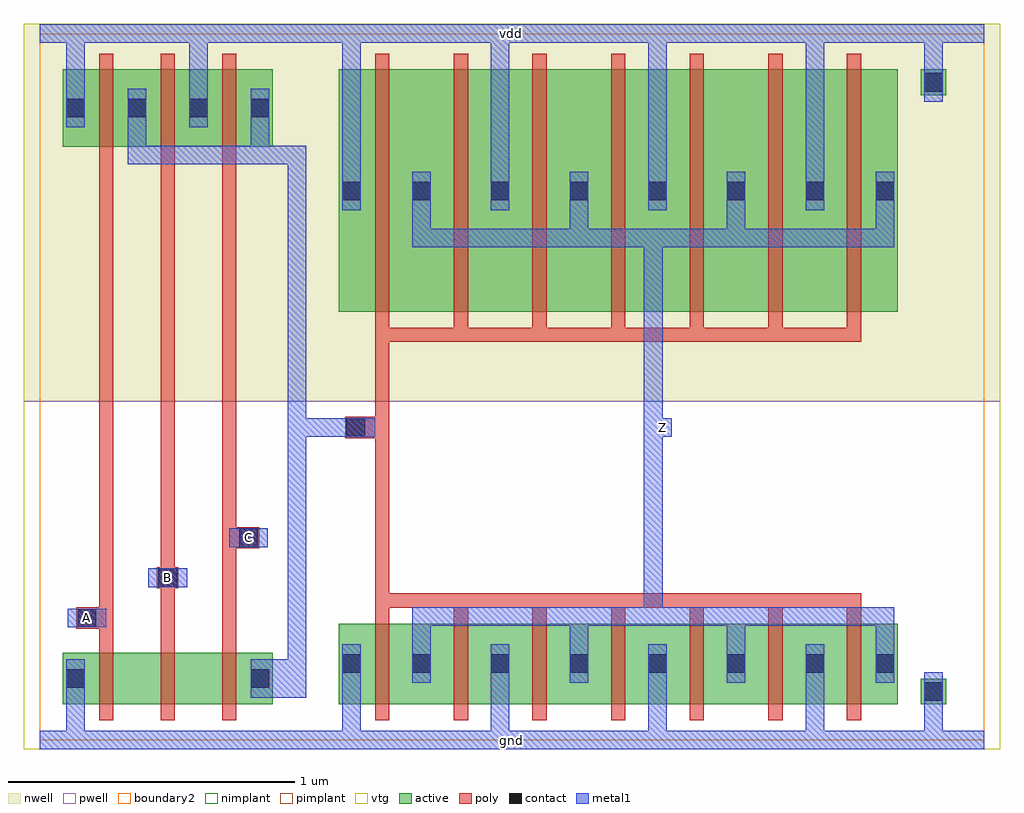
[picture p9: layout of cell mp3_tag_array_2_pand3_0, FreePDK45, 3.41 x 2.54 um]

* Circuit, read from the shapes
.subckt mp3_tag_array_2_pand3_0 A B C Z gnd vdd
M1 mp3_tag_array_2_pnand3_0_0/mp3_tag_array_2_nmos_m1_w0_180_sm1_dactive_3/D A gnd gnd nfet w=0.18u l=0.05u
M2 mp3_tag_array_2_pnand3_0_0/mp3_tag_array_2_nmos_m1_w0_180_sactive_dactive_4/D B mp3_tag_array_2_pnand3_0_0/mp3_tag_array_2_nmos_m1_w0_180_sm1_dactive_3/D gnd nfet w=0.18u l=0.05u
M3 mp3_tag_array_2_pdriver_3_1/A C mp3_tag_array_2_pnand3_0_0/mp3_tag_array_2_nmos_m1_w0_180_sactive_dactive_4/D gnd nfet w=0.18u l=0.05u
M4 Z mp3_tag_array_2_pdriver_3_1/A gnd gnd nfet w=0.2825u l=0.05u m=7
M5 mp3_tag_array_2_pdriver_3_1/A A vdd vdd pfet w=0.27u l=0.05u
M6 vdd B mp3_tag_array_2_pdriver_3_1/A vdd pfet w=0.27u l=0.05u
M7 mp3_tag_array_2_pdriver_3_1/A C vdd vdd pfet w=0.27u l=0.05u
M8 Z mp3_tag_array_2_pdriver_3_1/A vdd vdd pfet w=0.8475u l=0.05u m=7
.ends

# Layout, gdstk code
import gdstk
lib = gdstk.Library(unit=1e-6, precision=5e-10)
def R(c, l, rs):  # rectangles x0, y0, x1, y1
    for r in rs: c.add(gdstk.rectangle(r[:2], r[2:], *l))
def A(c, l, x, y, w, h, nx, ny, dx, dy):  # array of equal rectangles
    R(c, l, [(x+i*dx, y+j*dy, x+i*dx+w, y+j*dy+h) for i in range(nx) for j in range(ny)])
active = (1, 0)
pwell = (2, 0)
nwell = (3, 0)
nimplant = (4, 0)
pimplant = (5, 0)
vtg = (6, 0)
poly = (9, 0)
contact = (10, 0)
metal1 = (11, 0)
boundary2 = (239, 0)

mp3_tag_array_2_contact_ = lib.new_cell('mp3_tag_array_2_contact_11')
R(mp3_tag_array_2_contact_, active, [(0,0.0225,0.09,0.1125)])
R(mp3_tag_array_2_contact_, nwell, [(-0.055,-0.0325,0.145,0.1675)])
R(mp3_tag_array_2_contact_, pimplant, [(0,0.0225,0.09,0.1125)])
R(mp3_tag_array_2_contact_, contact, [(0.0125,0.035,0.0775,0.1)])
R(mp3_tag_array_2_contact_, metal1, [(0.0125,0,0.0775,0.135)])
R(mp3_tag_array_2_contact_, boundary2, [(-0.055,-0.0325,0.145,0.1675)])

mp3_tag_array_2_pmos_m1_ = lib.new_cell('mp3_tag_array_2_pmos_m1_w0_270_sm1_dm1')
R(mp3_tag_array_2_pmos_m1_, active, [(0,0,0.305,0.27)])
R(mp3_tag_array_2_pmos_m1_, nwell, [(-0.08,-0.08,0.385,0.35)])
R(mp3_tag_array_2_pmos_m1_, pimplant, [(0,0,0.305,0.27)])
R(mp3_tag_array_2_pmos_m1_, vtg, [(-0.08,-0.08,0.385,0.35)])
R(mp3_tag_array_2_pmos_m1_, poly, [(0.1275,-0.055,0.1775,0.325), (0.1275,-0.055,0.1775,0.325)])
R(mp3_tag_array_2_pmos_m1_, metal1, [(0.0125,0.0675,0.0775,0.2025), (0.2275,0.0675,0.2925,0.2025)])
R(mp3_tag_array_2_pmos_m1_, boundary2, [(-0.08,-0.08,0.385,0.35)])
mp3_tag_array_2_pmos_m1_.add(gdstk.Reference(mp3_tag_array_2_contact_, (0,0.0675)))
mp3_tag_array_2_pmos_m1_.add(gdstk.Reference(mp3_tag_array_2_contact_, (0.215,0.0675)))
mp3_tag_array_2_pmos_m1_.add(gdstk.Label('G', (0.1525,0.135), layer=9, texttype=0))
mp3_tag_array_2_pmos_m1_.add(gdstk.Label('S', (0.045,0.135), layer=11, texttype=0))
mp3_tag_array_2_pmos_m1_.add(gdstk.Label('D', (0.26,0.135), layer=11, texttype=0))

c_mp3_tag_array_2_contact_ = lib.new_cell('mp3_tag_array_2_contact_10')
R(c_mp3_tag_array_2_contact_, active, [(0,0.0225,0.09,0.1125)])
R(c_mp3_tag_array_2_contact_, pwell, [(-0.055,-0.0325,0.145,0.1675)])
R(c_mp3_tag_array_2_contact_, nimplant, [(0,0.0225,0.09,0.1125)])
R(c_mp3_tag_array_2_contact_, contact, [(0.0125,0.035,0.0775,0.1)])
R(c_mp3_tag_array_2_contact_, metal1, [(0.0125,0,0.0775,0.135)])
R(c_mp3_tag_array_2_contact_, boundary2, [(-0.055,-0.0325,0.145,0.1675)])

mp3_tag_array_2_nmos_m1_ = lib.new_cell('mp3_tag_array_2_nmos_m1_w0_180_sm1_dactive')
R(mp3_tag_array_2_nmos_m1_, active, [(0,0,0.305,0.18), (0.215,0.045,0.305,0.135)])
R(mp3_tag_array_2_nmos_m1_, pwell, [(-0.08,-0.08,0.385,0.26)])
R(mp3_tag_array_2_nmos_m1_, nimplant, [(0,0,0.305,0.18)])
R(mp3_tag_array_2_nmos_m1_, vtg, [(-0.08,-0.08,0.385,0.26)])
R(mp3_tag_array_2_nmos_m1_, poly, [(0.1275,-0.055,0.1775,0.235), (0.1275,-0.055,0.1775,0.235)])
R(mp3_tag_array_2_nmos_m1_, metal1, [(0.0125,0.0225,0.0775,0.1575)])
R(mp3_tag_array_2_nmos_m1_, boundary2, [(-0.08,-0.08,0.385,0.26)])
mp3_tag_array_2_nmos_m1_.add(gdstk.Reference(c_mp3_tag_array_2_contact_, (0,0.0225)))
mp3_tag_array_2_nmos_m1_.add(gdstk.Label('G', (0.1525,0.09), layer=9, texttype=0))
mp3_tag_array_2_nmos_m1_.add(gdstk.Label('S', (0.045,0.09), layer=11, texttype=0))
mp3_tag_array_2_nmos_m1_.add(gdstk.Label('D', (0.26,0.09), layer=1, texttype=0))

c_mp3_tag_array_2_nmos_m1_ = lib.new_cell('mp3_tag_array_2_nmos_m1_w0_180_sactive_dactive')
R(c_mp3_tag_array_2_nmos_m1_, active, [(0,0,0.305,0.18), (0,0.045,0.09,0.135), (0.215,0.045,0.305,0.135)])
R(c_mp3_tag_array_2_nmos_m1_, pwell, [(-0.08,-0.08,0.385,0.26)])
R(c_mp3_tag_array_2_nmos_m1_, nimplant, [(0,0,0.305,0.18)])
R(c_mp3_tag_array_2_nmos_m1_, vtg, [(-0.08,-0.08,0.385,0.26)])
R(c_mp3_tag_array_2_nmos_m1_, poly, [(0.1275,-0.055,0.1775,0.235), (0.1275,-0.055,0.1775,0.235)])
R(c_mp3_tag_array_2_nmos_m1_, boundary2, [(-0.08,-0.08,0.385,0.26)])
c_mp3_tag_array_2_nmos_m1_.add(gdstk.Label('G', (0.1525,0.09), layer=9, texttype=0))
c_mp3_tag_array_2_nmos_m1_.add(gdstk.Label('S', (0.045,0.09), layer=1, texttype=0))
c_mp3_tag_array_2_nmos_m1_.add(gdstk.Label('D', (0.26,0.09), layer=1, texttype=0))

c_mp3_tag_array_2_nmos_m1__ = lib.new_cell('mp3_tag_array_2_nmos_m1_w0_180_sactive_dm1')
R(c_mp3_tag_array_2_nmos_m1__, active, [(0,0,0.305,0.18), (0,0.045,0.09,0.135)])
R(c_mp3_tag_array_2_nmos_m1__, pwell, [(-0.08,-0.08,0.385,0.26)])
R(c_mp3_tag_array_2_nmos_m1__, nimplant, [(0,0,0.305,0.18)])
R(c_mp3_tag_array_2_nmos_m1__, vtg, [(-0.08,-0.08,0.385,0.26)])
R(c_mp3_tag_array_2_nmos_m1__, poly, [(0.1275,-0.055,0.1775,0.235), (0.1275,-0.055,0.1775,0.235)])
R(c_mp3_tag_array_2_nmos_m1__, metal1, [(0.2275,0.0225,0.2925,0.1575)])
R(c_mp3_tag_array_2_nmos_m1__, boundary2, [(-0.08,-0.08,0.385,0.26)])
c_mp3_tag_array_2_nmos_m1__.add(gdstk.Reference(c_mp3_tag_array_2_contact_, (0.215,0.0225)))
c_mp3_tag_array_2_nmos_m1__.add(gdstk.Label('G', (0.1525,0.09), layer=9, texttype=0))
c_mp3_tag_array_2_nmos_m1__.add(gdstk.Label('S', (0.045,0.09), layer=1, texttype=0))
c_mp3_tag_array_2_nmos_m1__.add(gdstk.Label('D', (0.26,0.09), layer=11, texttype=0))

c_mp3_tag_array_2_contact__ = lib.new_cell('mp3_tag_array_2_contact_14')
R(c_mp3_tag_array_2_contact__, poly, [(0.03,0,0.105,0.075)])
R(c_mp3_tag_array_2_contact__, contact, [(0.035,0.005,0.1,0.07)])
R(c_mp3_tag_array_2_contact__, metal1, [(0,0.005,0.135,0.07)])
R(c_mp3_tag_array_2_contact__, boundary2, [(0,0,0.135,0.075)])

mp3_tag_array_2_pnand3_0 = lib.new_cell('mp3_tag_array_2_pnand3_0')
R(mp3_tag_array_2_pnand3_0, pwell, [(-0.055,-0.0325,1.02,1.185)])
R(mp3_tag_array_2_pnand3_0, nwell, [(-0.055,1.185,1.02,2.505)])
R(mp3_tag_array_2_pnand3_0, vtg, [(-0.055,-0.0325,1.02,1.185), (-0.055,1.185,1.02,2.505)])
A(mp3_tag_array_2_pnand3_0, poly, 0.2075, 0.36, 0.05, 1.66, 3, 1, 0.215, 0)
R(mp3_tag_array_2_pnand3_0, poly, [(0.165,0.39,0.2075,0.465), (0.4225,0.53,0.4475,0.605), (0.6375,0.67,0.73,0.745)])
R(mp3_tag_array_2_pnand3_0, metal1, [(0,-0.0325,0.965,0.0325), (0.0925,-0.0325,0.1575,0.1475), (0.77,0.1475,0.9,0.2825), (0.8675,0.1475,0.9325,2.045), (0.0975,0.395,0.2325,0.46), (0.38,0.535,0.515,0.6), (0.6625,0.675,0.7975,0.74), (0.3075,2.0125,0.3725,2.0775), (0.34,2.0125,0.9,2.0775), (0.7375,2.0125,0.8025,2.0775), (0.77,2.0125,0.9,2.0775), (0.8675,2.0125,0.9325,2.0775), (0.3075,2.045,0.3725,2.21), (0.7375,2.045,0.8025,2.21), (0.0925,2.1425,0.1575,2.5025), (0.5225,2.1425,0.5875,2.5025), (0,2.4375,0.965,2.5025)])
R(mp3_tag_array_2_pnand3_0, boundary2, [(0,0,0.965,2.47), (0,0,0.965,2.47)])
mp3_tag_array_2_pnand3_0.add(gdstk.Reference(mp3_tag_array_2_pmos_m1_, (0.08,2.075)))
mp3_tag_array_2_pnand3_0.add(gdstk.Reference(mp3_tag_array_2_pmos_m1_, (0.295,2.075)))
mp3_tag_array_2_pnand3_0.add(gdstk.Reference(mp3_tag_array_2_pmos_m1_, (0.51,2.075)))
mp3_tag_array_2_pnand3_0.add(gdstk.Reference(mp3_tag_array_2_nmos_m1_, (0.08,0.125)))
mp3_tag_array_2_pnand3_0.add(gdstk.Reference(c_mp3_tag_array_2_nmos_m1_, (0.295,0.125)))
mp3_tag_array_2_pnand3_0.add(gdstk.Reference(c_mp3_tag_array_2_nmos_m1__, (0.51,0.125)))
mp3_tag_array_2_pnand3_0.add(gdstk.Reference(c_mp3_tag_array_2_contact__, (0.0975,0.39)))
mp3_tag_array_2_pnand3_0.add(gdstk.Reference(c_mp3_tag_array_2_contact__, (0.38,0.53)))
mp3_tag_array_2_pnand3_0.add(gdstk.Reference(c_mp3_tag_array_2_contact__, (0.6625,0.67)))
mp3_tag_array_2_pnand3_0.add(gdstk.Label('A', (0.165,0.4275), layer=11, texttype=0))
mp3_tag_array_2_pnand3_0.add(gdstk.Label('B', (0.4475,0.5675), layer=11, texttype=0))
mp3_tag_array_2_pnand3_0.add(gdstk.Label('C', (0.73,0.7075), layer=11, texttype=0))
mp3_tag_array_2_pnand3_0.add(gdstk.Label('Z', (0.9,2.045), layer=11, texttype=0))
mp3_tag_array_2_pnand3_0.add(gdstk.Label('gnd', (0.4825,0), layer=11, texttype=0))
mp3_tag_array_2_pnand3_0.add(gdstk.Label('vdd', (0.4825,2.47), layer=11, texttype=0))

mp3_tag_array_2_pmos_m7_ = lib.new_cell('mp3_tag_array_2_pmos_m7_w0_848_sm1_dm1_da_p')
R(mp3_tag_array_2_pmos_m7_, active, [(0,0,1.955,0.8475)])
R(mp3_tag_array_2_pmos_m7_, nwell, [(-0.08,-0.08,2.035,0.9275)])
R(mp3_tag_array_2_pmos_m7_, pimplant, [(0,0,1.955,0.8475)])
R(mp3_tag_array_2_pmos_m7_, vtg, [(-0.08,-0.08,2.035,0.9275)])
A(mp3_tag_array_2_pmos_m7_, poly, 0.1275, -0.055, 0.05, 0.9575, 7, 1, 0.275, 0)
R(mp3_tag_array_2_pmos_m7_, poly, [(0.1275,-0.105,1.8275,-0.055)])
A(mp3_tag_array_2_pmos_m7_, metal1, 0.2575, 0.26, 0.065, 0.165, 3, 1, 0.55, 0)
A(mp3_tag_array_2_pmos_m7_, metal1, 0.5325, 0.355, 0.065, 0.135, 3, 1, 0.55, 0)
R(mp3_tag_array_2_pmos_m7_, metal1, [(0.2575,0.225,1.9425,0.29), (1.8775,0.26,1.9425,0.425), (0.0125,0.355,0.0775,0.49)])
R(mp3_tag_array_2_pmos_m7_, boundary2, [(-0.08,-0.105,2.035,0.9275)])
mp3_tag_array_2_pmos_m7_.add(gdstk.Reference(mp3_tag_array_2_contact_, (0,0.355)))
mp3_tag_array_2_pmos_m7_.add(gdstk.Reference(mp3_tag_array_2_contact_, (0.245,0.355)))
mp3_tag_array_2_pmos_m7_.add(gdstk.Reference(mp3_tag_array_2_contact_, (0.52,0.355)))
mp3_tag_array_2_pmos_m7_.add(gdstk.Reference(mp3_tag_array_2_contact_, (0.795,0.355)))
mp3_tag_array_2_pmos_m7_.add(gdstk.Reference(mp3_tag_array_2_contact_, (1.07,0.355)))
mp3_tag_array_2_pmos_m7_.add(gdstk.Reference(mp3_tag_array_2_contact_, (1.345,0.355)))
mp3_tag_array_2_pmos_m7_.add(gdstk.Reference(mp3_tag_array_2_contact_, (1.62,0.355)))
mp3_tag_array_2_pmos_m7_.add(gdstk.Reference(mp3_tag_array_2_contact_, (1.865,0.355)))
mp3_tag_array_2_pmos_m7_.add(gdstk.Label('G', (0.9775,-0.08), layer=9, texttype=0))
mp3_tag_array_2_pmos_m7_.add(gdstk.Label('S', (1.115,0.4225), layer=11, texttype=0))
mp3_tag_array_2_pmos_m7_.add(gdstk.Label('S', (0.565,0.4225), layer=11, texttype=0))
mp3_tag_array_2_pmos_m7_.add(gdstk.Label('S', (0.045,0.4225), layer=11, texttype=0))
mp3_tag_array_2_pmos_m7_.add(gdstk.Label('S', (1.665,0.4225), layer=11, texttype=0))
mp3_tag_array_2_pmos_m7_.add(gdstk.Label('D', (1.1,0.2575), layer=11, texttype=0))

mp3_tag_array_2_nmos_m7_ = lib.new_cell('mp3_tag_array_2_nmos_m7_w0_283_sm1_dm1_da_p')
R(mp3_tag_array_2_nmos_m7_, active, [(0,0,1.955,0.2825)])
R(mp3_tag_array_2_nmos_m7_, pwell, [(-0.08,-0.08,2.035,0.3625)])
R(mp3_tag_array_2_nmos_m7_, nimplant, [(0,0,1.955,0.2825)])
R(mp3_tag_array_2_nmos_m7_, vtg, [(-0.08,-0.08,2.035,0.3625)])
A(mp3_tag_array_2_nmos_m7_, poly, 0.1275, -0.055, 0.05, 0.3925, 7, 1, 0.275, 0)
R(mp3_tag_array_2_nmos_m7_, poly, [(0.1275,0.3375,1.8275,0.3875)])
A(mp3_tag_array_2_nmos_m7_, metal1, 0.5325, 0.075, 0.065, 0.135, 3, 1, 0.55, 0)
A(mp3_tag_array_2_nmos_m7_, metal1, 0.2575, 0.14, 0.065, 0.165, 3, 1, 0.55, 0)
R(mp3_tag_array_2_nmos_m7_, metal1, [(0.0125,0.075,0.0775,0.21), (1.8775,0.14,1.9425,0.305), (0.2575,0.275,1.9425,0.34)])
R(mp3_tag_array_2_nmos_m7_, boundary2, [(-0.08,-0.08,2.035,0.3875)])
mp3_tag_array_2_nmos_m7_.add(gdstk.Reference(c_mp3_tag_array_2_contact_, (0,0.075)))
mp3_tag_array_2_nmos_m7_.add(gdstk.Reference(c_mp3_tag_array_2_contact_, (0.245,0.075)))
mp3_tag_array_2_nmos_m7_.add(gdstk.Reference(c_mp3_tag_array_2_contact_, (0.52,0.075)))
mp3_tag_array_2_nmos_m7_.add(gdstk.Reference(c_mp3_tag_array_2_contact_, (0.795,0.075)))
mp3_tag_array_2_nmos_m7_.add(gdstk.Reference(c_mp3_tag_array_2_contact_, (1.07,0.075)))
mp3_tag_array_2_nmos_m7_.add(gdstk.Reference(c_mp3_tag_array_2_contact_, (1.345,0.075)))
mp3_tag_array_2_nmos_m7_.add(gdstk.Reference(c_mp3_tag_array_2_contact_, (1.62,0.075)))
mp3_tag_array_2_nmos_m7_.add(gdstk.Reference(c_mp3_tag_array_2_contact_, (1.865,0.075)))
mp3_tag_array_2_nmos_m7_.add(gdstk.Label('G', (0.9775,0.3625), layer=9, texttype=0))
mp3_tag_array_2_nmos_m7_.add(gdstk.Label('S', (0.565,0.1425), layer=11, texttype=0))
mp3_tag_array_2_nmos_m7_.add(gdstk.Label('S', (1.115,0.1425), layer=11, texttype=0))
mp3_tag_array_2_nmos_m7_.add(gdstk.Label('S', (1.665,0.1425), layer=11, texttype=0))
mp3_tag_array_2_nmos_m7_.add(gdstk.Label('S', (0.045,0.1425), layer=11, texttype=0))
mp3_tag_array_2_nmos_m7_.add(gdstk.Label('D', (1.1,0.3075), layer=11, texttype=0))

c_mp3_tag_array_2_contact___ = lib.new_cell('mp3_tag_array_2_contact_12')
R(c_mp3_tag_array_2_contact___, active, [(0,0.0225,0.09,0.1125)])
R(c_mp3_tag_array_2_contact___, nwell, [(-0.055,-0.0325,0.145,0.1675)])
R(c_mp3_tag_array_2_contact___, nimplant, [(0,0.0225,0.09,0.1125)])
R(c_mp3_tag_array_2_contact___, contact, [(0.0125,0.035,0.0775,0.1)])
R(c_mp3_tag_array_2_contact___, metal1, [(0.0125,0,0.0775,0.135)])
R(c_mp3_tag_array_2_contact___, boundary2, [(-0.055,-0.0325,0.145,0.1675)])

c_mp3_tag_array_2_contact____ = lib.new_cell('mp3_tag_array_2_contact_13')
R(c_mp3_tag_array_2_contact____, active, [(0,0.0225,0.09,0.1125)])
R(c_mp3_tag_array_2_contact____, pwell, [(-0.055,-0.0325,0.145,0.1675)])
R(c_mp3_tag_array_2_contact____, pimplant, [(0,0.0225,0.09,0.1125)])
R(c_mp3_tag_array_2_contact____, contact, [(0.0125,0.035,0.0775,0.1)])
R(c_mp3_tag_array_2_contact____, metal1, [(0.0125,0,0.0775,0.135)])
R(c_mp3_tag_array_2_contact____, boundary2, [(-0.055,-0.0325,0.145,0.1675)])

mp3_tag_array_2_pinv_14 = lib.new_cell('mp3_tag_array_2_pinv_14')
R(mp3_tag_array_2_pinv_14, pwell, [(-0.055,-0.0325,2.3925,1.185)])
R(mp3_tag_array_2_pinv_14, nwell, [(-0.055,1.185,2.3925,2.505)])
R(mp3_tag_array_2_pinv_14, vtg, [(-0.055,-0.0325,2.3925,1.185), (-0.055,1.185,2.3925,2.505)])
R(mp3_tag_array_2_pinv_14, poly, [(0.2075,0.5125,0.2575,1.3925), (0.14,1.055,0.2075,1.13)])
A(mp3_tag_array_2_pinv_14, metal1, 0.6125, -0.0325, 0.065, 0.2325, 3, 1, 0.55, 0)
A(mp3_tag_array_2_pinv_14, metal1, 0.6125, 1.8525, 0.065, 0.65, 3, 1, 0.55, 0)
R(mp3_tag_array_2_pinv_14, metal1, [(0,-0.0325,2.3375,0.0325), (0.0925,-0.0325,0.1575,0.2), (2.1275,0,2.1925,0.17), (1.1475,0.4,1.2125,1.7875), (0.0725,1.06,0.2075,1.125), (1.18,1.06,1.245,1.125), (0.0925,1.8525,0.1575,2.5025), (2.1275,2.3,2.1925,2.47), (0,2.4375,2.3375,2.5025)])
R(mp3_tag_array_2_pinv_14, boundary2, [(0,0,2.3375,2.47), (0,0,2.3375,2.47)])
mp3_tag_array_2_pinv_14.add(gdstk.Reference(mp3_tag_array_2_pmos_m7_, (0.08,1.4975)))
mp3_tag_array_2_pinv_14.add(gdstk.Reference(mp3_tag_array_2_nmos_m7_, (0.08,0.125)))
mp3_tag_array_2_pinv_14.add(gdstk.Reference(c_mp3_tag_array_2_contact___, (2.115,2.2325)))
mp3_tag_array_2_pinv_14.add(gdstk.Reference(c_mp3_tag_array_2_contact____, (2.115,0.1025)))
mp3_tag_array_2_pinv_14.add(gdstk.Reference(c_mp3_tag_array_2_contact__, (0.0725,1.055)))
mp3_tag_array_2_pinv_14.add(gdstk.Label('A', (0.14,1.0925), layer=11, texttype=0))
mp3_tag_array_2_pinv_14.add(gdstk.Label('Z', (1.2125,1.0925), layer=11, texttype=0))
mp3_tag_array_2_pinv_14.add(gdstk.Label('gnd', (1.169,0), layer=11, texttype=0))
mp3_tag_array_2_pinv_14.add(gdstk.Label('vdd', (1.169,2.47), layer=11, texttype=0))

mp3_tag_array_2_pdriver_ = lib.new_cell('mp3_tag_array_2_pdriver_3')
R(mp3_tag_array_2_pdriver_, pwell, [(-0.055,-0.0325,2.3925,1.185)])
R(mp3_tag_array_2_pdriver_, nwell, [(-0.055,1.185,2.3925,2.505)])
R(mp3_tag_array_2_pdriver_, vtg, [(-0.055,-0.0325,2.3925,1.185), (-0.055,1.185,2.3925,2.505)])
R(mp3_tag_array_2_pdriver_, metal1, [(0,-0.0325,2.3375,0.0325), (0.0725,1.06,0.2075,1.125), (1.18,1.06,1.245,1.125), (0,2.4375,2.3375,2.5025)])
R(mp3_tag_array_2_pdriver_, boundary2, [(0,0,2.3375,2.47), (0,0,2.3375,2.47)])
mp3_tag_array_2_pdriver_.add(gdstk.Reference(mp3_tag_array_2_pinv_14, (0,0)))
mp3_tag_array_2_pdriver_.add(gdstk.Label('Z', (1.2125,1.0925), layer=11, texttype=0))
mp3_tag_array_2_pdriver_.add(gdstk.Label('A', (0.14,1.0925), layer=11, texttype=0))
mp3_tag_array_2_pdriver_.add(gdstk.Label('gnd', (1.169,0), layer=11, texttype=0))
mp3_tag_array_2_pdriver_.add(gdstk.Label('vdd', (1.169,2.47), layer=11, texttype=0))

mp3_tag_array_2_pand3_0 = lib.new_cell('mp3_tag_array_2_pand3_0')
R(mp3_tag_array_2_pand3_0, metal1, [(0,-0.0325,3.3025,0.0325), (0.0975,0.395,0.2325,0.46), (0.38,0.535,0.515,0.6), (0.6625,0.675,0.7975,0.74), (0.8675,1.06,0.9325,1.125), (0.9,1.06,1.105,1.125), (2.145,1.06,2.21,1.125), (0.8675,1.0925,0.9325,2.045), (0,2.4375,3.3025,2.5025)])
R(mp3_tag_array_2_pand3_0, boundary2, [(0,0,3.3025,2.47), (0,0,3.3025,2.47)])
mp3_tag_array_2_pand3_0.add(gdstk.Reference(mp3_tag_array_2_pnand3_0, (0,0)))
mp3_tag_array_2_pand3_0.add(gdstk.Reference(mp3_tag_array_2_pdriver_, (0.965,0)))
mp3_tag_array_2_pand3_0.add(gdstk.Label('Z', (2.1775,1.0925), layer=11, texttype=0))
mp3_tag_array_2_pand3_0.add(gdstk.Label('A', (0.165,0.4275), layer=11, texttype=0))
mp3_tag_array_2_pand3_0.add(gdstk.Label('B', (0.4475,0.5675), layer=11, texttype=0))
mp3_tag_array_2_pand3_0.add(gdstk.Label('C', (0.73,0.7075), layer=11, texttype=0))
mp3_tag_array_2_pand3_0.add(gdstk.Label('gnd', (1.651,0), layer=11, texttype=0))
mp3_tag_array_2_pand3_0.add(gdstk.Label('vdd', (1.651,2.47), layer=11, texttype=0))

lib.write_gds('mp3_tag_array_2_pand3_0.gds')
